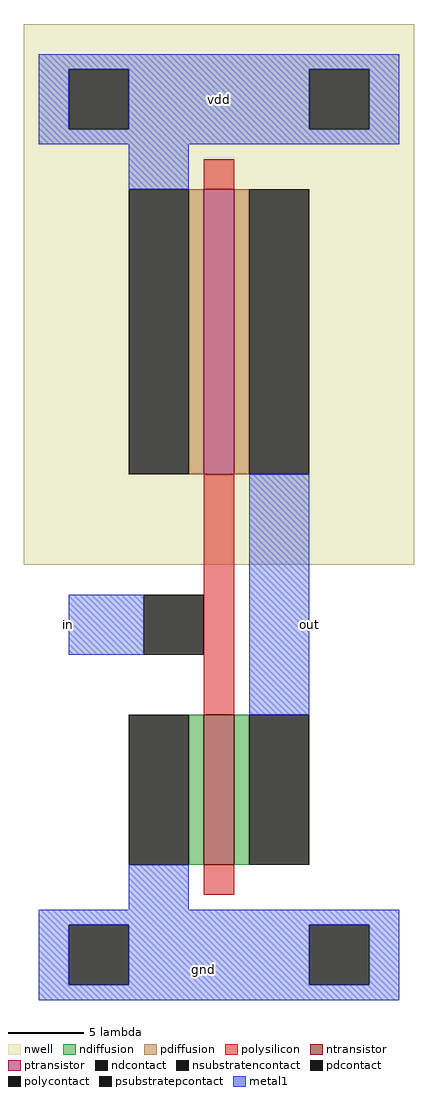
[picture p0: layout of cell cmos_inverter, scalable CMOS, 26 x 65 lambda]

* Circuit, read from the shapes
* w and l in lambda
.subckt cmos_inverter gnd in out vdd
M1 out in gnd gnd nfet w=10 l=2
M2 out in vdd vdd pfet w=19 l=2
.ends

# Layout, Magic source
magic
tech scmos
<< nwell >>
rect -3 6 23 42
<< ntransistor >>
rect 9 -14 11 -4
<< ptransistor >>
rect 9 12 11 31
<< ndiffusion >>
rect 8 -14 9 -4
rect 11 -14 12 -4
<< pdiffusion >>
rect 8 12 9 31
rect 11 12 12 31
<< ndcontact >>
rect 4 -14 8 -4
rect 12 -14 16 -4
<< pdcontact >>
rect 4 12 8 31
rect 12 12 16 31
<< psubstratepcontact >>
rect 0 -22 4 -18
rect 16 -22 20 -18
<< nsubstratencontact >>
rect 0 35 4 39
rect 16 35 20 39
<< polysilicon >>
rect 9 31 11 33
rect 9 -4 11 12
rect 9 -16 11 -14
<< polycontact >>
rect 5 0 9 4
<< metal1 >>
rect -2 39 22 40
rect -2 35 0 39
rect 4 35 16 39
rect 20 35 22 39
rect -2 34 22 35
rect 4 31 8 34
rect 0 0 5 4
rect 12 -4 16 12
rect 4 -17 8 -14
rect -2 -18 22 -17
rect -2 -22 0 -18
rect 4 -22 16 -18
rect 20 -22 22 -18
rect -2 -23 22 -22
<< labels >>
rlabel metal1 0 0 0 4 3 in
rlabel metal1 16 0 16 4 1 out
rlabel metal1 9 -21 9 -21 1 gnd
rlabel metal1 10 37 10 37 5 vdd
<< end >>
